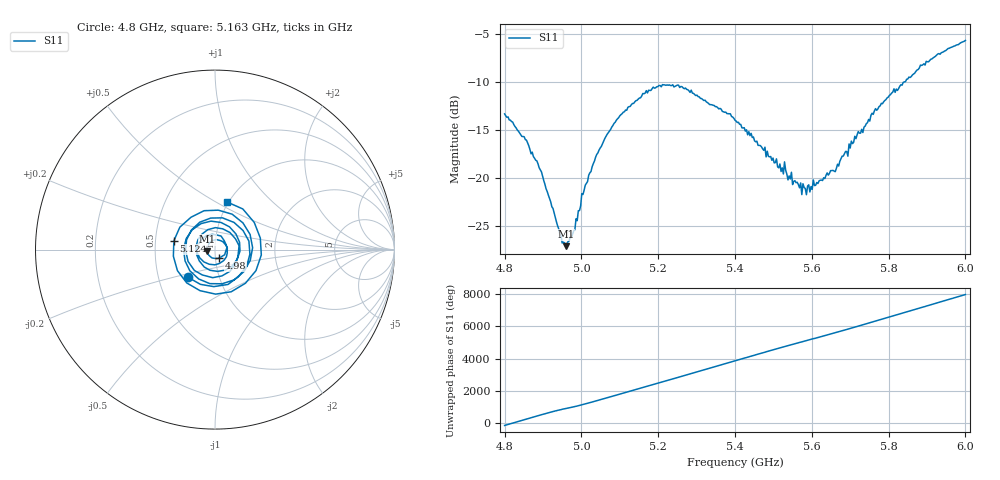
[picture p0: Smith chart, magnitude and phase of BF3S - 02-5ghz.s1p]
! NanoVNA-App
! Date: 2026-05-22 16:32:18
! Start: 4.8GHz Stop: 6GHz Points: 401
! S-Parameter data: F S11
# Hz S RI R 50
!  Frequency  S11_Real  S11_Imag
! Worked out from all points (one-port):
!   401 points, 4.8 GHz to 6 GHz, reference 50 ohm
!   lowest |S11| = -27.1 dB at 4.959 GHz (marker M1), VSWR 1.09, Z = 45.8 - j0.784 ohm
!   |S11| at or under -10 dB: start of sweep to 5.844 GHz
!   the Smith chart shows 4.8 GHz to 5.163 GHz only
!   S11 on the Smith chart (normalised r, x): 4.8 GHz: 0.71, -0.23; 4.98 GHz: 1.05, -0.10; 5.124 GHz: 0.62, +0.06; 5.163 GHz: 0.99, +0.56
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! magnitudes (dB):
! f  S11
! 4.8 GHz  -13.4
! 4.854 GHz  -16.0
! 4.89 GHz  -19.0
! 4.95 GHz  -26.8
! 4.959 GHz  -27.1
! 4.968 GHz  -26.6
! 4.98 GHz  -25.5
! 5.007 GHz  -21.3
! 5.034 GHz  -18.3
! 5.067 GHz  -15.5
! 5.1 GHz  -13.6
! 5.124 GHz  -12.6
! 5.163 GHz  -11.3
! 5.208 GHz  -10.5
! 5.25 GHz  -10.4
! 5.382 GHz  -13.3
! 5.4 GHz  -14.0
! 5.55 GHz  -20.7
! 5.58 GHz  -21.0
! 5.592 GHz  -20.7
! 5.664 GHz  -19.0
! 5.682 GHz  -17.7
! 5.7 GHz  -16.9
! 5.76 GHz  -13.4
! 5.85 GHz  -9.7
! 5.886 GHz  -8.3
! 5.925 GHz  -7.2
! 6 GHz  -5.7
